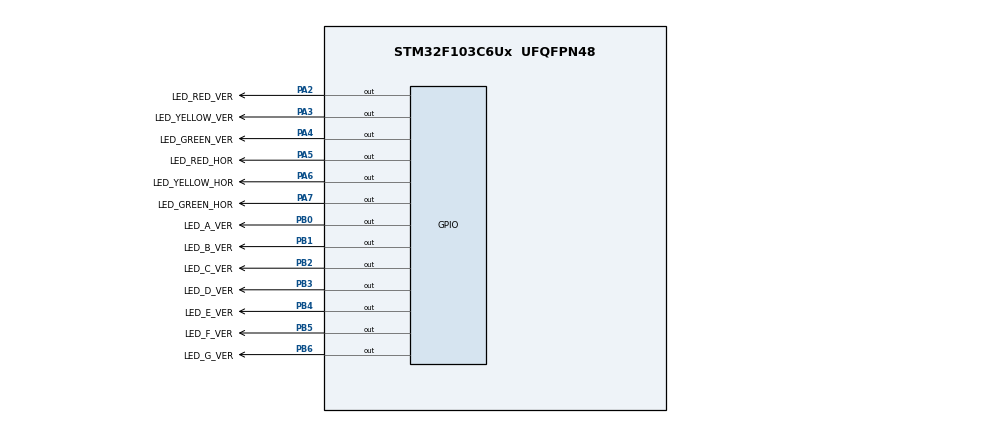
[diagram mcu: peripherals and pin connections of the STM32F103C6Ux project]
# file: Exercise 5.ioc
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Mcu.Family=STM32F1
Mcu.Name=STM32F103C6Ux
Mcu.Package=UFQFPN48
NVIC.PriorityGroup=NVIC_PRIORITYGROUP_4
PA2.GPIO_Label=LED_RED_VER
PA2.Signal=GPIO_Output
PA3.GPIO_Label=LED_YELLOW_VER
PA3.Signal=GPIO_Output
PA4.GPIO_Label=LED_GREEN_VER
PA4.Signal=GPIO_Output
PA5.GPIO_Label=LED_RED_HOR
PA5.Signal=GPIO_Output
PA6.GPIO_Label=LED_YELLOW_HOR
PA6.Signal=GPIO_Output
PA7.GPIO_Label=LED_GREEN_HOR
PA7.Signal=GPIO_Output
PB0.GPIO_Label=LED_A_VER
PB0.Signal=GPIO_Output
PB1.GPIO_Label=LED_B_VER
PB1.Signal=GPIO_Output
PB2.GPIO_Label=LED_C_VER
PB2.Signal=GPIO_Output
PB3.GPIO_Label=LED_D_VER
PB3.Signal=GPIO_Output
PB4.GPIO_Label=LED_E_VER
PB4.Signal=GPIO_Output
PB5.GPIO_Label=LED_F_VER
PB5.Signal=GPIO_Output
PB6.GPIO_Label=LED_G_VER
PB6.Signal=GPIO_Output
ProjectManager.HeapSize=0x200
ProjectManager.StackSize=0x400
ProjectManager.TargetToolchain=STM32CubeIDE
RCC.APB1Freq_Value=8000000
RCC.APB2Freq_Value=8000000
VP_SYS_VS_ND.Mode=No_Debug
board=custom

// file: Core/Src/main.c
/* USER CODE BEGIN Header */
/**
  ******************************************************************************
  * @file           : main.c
  * @brief          : Main program body
  ******************************************************************************
  * @attention
  *
  * <h2><center>&copy; Copyright (c) 2022 STMicroelectronics.
  * All rights reserved.</center></h2>
  *
  * This software component is licensed by ST under BSD 3-Clause license,
  * the "License"; You may not use this file except in compliance with the
  * License. You may obtain a copy of the License at:
  *                        opensource.org/licenses/BSD-3-Clause
  *
  ******************************************************************************
  */
/* USER CODE END Header */
#include "main.h"

void SystemClock_Config(void);
static void MX_GPIO_Init(void);

/* USER CODE BEGIN 0 */
void display7SEG(int num){
	if (num == 0){
		HAL_GPIO_WritePin(LED_A_VER_GPIO_Port, LED_A_VER_Pin, GPIO_PIN_RESET);
		HAL_GPIO_WritePin(LED_B_VER_GPIO_Port, LED_B_VER_Pin, GPIO_PIN_RESET);
		HAL_GPIO_WritePin(LED_C_VER_GPIO_Port, LED_C_VER_Pin, GPIO_PIN_RESET);
		HAL_GPIO_WritePin(LED_D_VER_GPIO_Port, LED_D_VER_Pin, GPIO_PIN_RESET);
		HAL_GPIO_WritePin(LED_E_VER_GPIO_Port, LED_E_VER_Pin, GPIO_PIN_RESET);
		HAL_GPIO_WritePin(LED_F_VER_GPIO_Port, LED_F_VER_Pin, GPIO_PIN_RESET);
		HAL_GPIO_WritePin(LED_G_VER_GPIO_Port, LED_G_VER_Pin, GPIO_PIN_SET);
	}
	else  if (num == 1){
		HAL_GPIO_WritePin(LED_A_VER_GPIO_Port, LED_A_VER_Pin, GPIO_PIN_SET);
		HAL_GPIO_WritePin(LED_B_VER_GPIO_Port, LED_B_VER_Pin, GPIO_PIN_RESET);
		HAL_GPIO_WritePin(LED_C_VER_GPIO_Port, LED_C_VER_Pin, GPIO_PIN_RESET);
		HAL_GPIO_WritePin(LED_D_VER_GPIO_Port, LED_D_VER_Pin, GPIO_PIN_SET);
		HAL_GPIO_WritePin(LED_E_VER_GPIO_Port, LED_E_VER_Pin, GPIO_PIN_SET);
		HAL_GPIO_WritePin(LED_F_VER_GPIO_Port, LED_F_VER_Pin, GPIO_PIN_SET);
		HAL_GPIO_WritePin(LED_G_VER_GPIO_Port, LED_G_VER_Pin, GPIO_PIN_SET);
	}
	else  if (num == 2){
		HAL_GPIO_WritePin(LED_A_VER_GPIO_Port, LED_A_VER_Pin, GPIO_PIN_RESET);
		HAL_GPIO_WritePin(LED_B_VER_GPIO_Port, LED_B_VER_Pin, GPIO_PIN_RESET);
		HAL_GPIO_WritePin(LED_C_VER_GPIO_Port, LED_C_VER_Pin, GPIO_PIN_SET);
		HAL_GPIO_WritePin(LED_D_VER_GPIO_Port, LED_D_VER_Pin, GPIO_PIN_RESET);
		HAL_GPIO_WritePin(LED_E_VER_GPIO_Port, LED_E_VER_Pin, GPIO_PIN_RESET);
		HAL_GPIO_WritePin(LED_F_VER_GPIO_Port, LED_F_VER_Pin, GPIO_PIN_SET);
		HAL_GPIO_WritePin(LED_G_VER_GPIO_Port, LED_G_VER_Pin, GPIO_PIN_RESET);
	}
	else  if (num == 3){
		HAL_GPIO_WritePin(LED_A_VER_GPIO_Port, LED_A_VER_Pin, GPIO_PIN_RESET);
		HAL_GPIO_WritePin(LED_B_VER_GPIO_Port, LED_B_VER_Pin, GPIO_PIN_RESET);
		HAL_GPIO_WritePin(LED_C_VER_GPIO_Port, LED_C_VER_Pin, GPIO_PIN_RESET);
		HAL_GPIO_WritePin(LED_D_VER_GPIO_Port, LED_D_VER_Pin, GPIO_PIN_RESET);
		HAL_GPIO_WritePin(LED_E_VER_GPIO_Port, LED_E_VER_Pin, GPIO_PIN_SET);
		HAL_GPIO_WritePin(LED_F_VER_GPIO_Port, LED_F_VER_Pin, GPIO_PIN_SET);
		HAL_GPIO_WritePin(LED_G_VER_GPIO_Port, LED_G_VER_Pin, GPIO_PIN_RESET);
	}
	else  if (num == 4){
		HAL_GPIO_WritePin(LED_A_VER_GPIO_Port, LED_A_VER_Pin, GPIO_PIN_SET);
		HAL_GPIO_WritePin(LED_B_VER_GPIO_Port, LED_B_VER_Pin, GPIO_PIN_RESET);
		HAL_GPIO_WritePin(LED_C_VER_GPIO_Port, LED_C_VER_Pin, GPIO_PIN_RESET);
		HAL_GPIO_WritePin(LED_D_VER_GPIO_Port, LED_D_VER_Pin, GPIO_PIN_SET);
		HAL_GPIO_WritePin(LED_E_VER_GPIO_Port, LED_E_VER_Pin, GPIO_PIN_SET);
		HAL_GPIO_WritePin(LED_F_VER_GPIO_Port, LED_F_VER_Pin, GPIO_PIN_RESET);
		HAL_GPIO_WritePin(LED_G_VER_GPIO_Port, LED_G_VER_Pin, GPIO_PIN_RESET);
	}
	else  if (num == 5){
		HAL_GPIO_WritePin(LED_A_VER_GPIO_Port, LED_A_VER_Pin, GPIO_PIN_RESET);
		HAL_GPIO_WritePin(LED_B_VER_GPIO_Port, LED_B_VER_Pin, GPIO_PIN_SET);
		HAL_GPIO_WritePin(LED_C_VER_GPIO_Port, LED_C_VER_Pin, GPIO_PIN_RESET);
		HAL_GPIO_WritePin(LED_D_VER_GPIO_Port, LED_D_VER_Pin, GPIO_PIN_RESET);
		HAL_GPIO_WritePin(LED_E_VER_GPIO_Port, LED_E_VER_Pin, GPIO_PIN_SET);
		HAL_GPIO_WritePin(LED_F_VER_GPIO_Port, LED_F_VER_Pin, GPIO_PIN_RESET);
		HAL_GPIO_WritePin(LED_G_VER_GPIO_Port, LED_G_VER_Pin, GPIO_PIN_RESET);
	}
	else  if (num == 6){
		HAL_GPIO_WritePin(LED_A_VER_GPIO_Port, LED_A_VER_Pin, GPIO_PIN_RESET);
		HAL_GPIO_WritePin(LED_B_VER_GPIO_Port, LED_B_VER_Pin, GPIO_PIN_SET);
		HAL_GPIO_WritePin(LED_C_VER_GPIO_Port, LED_C_VER_Pin, GPIO_PIN_RESET);
		HAL_GPIO_WritePin(LED_D_VER_GPIO_Port, LED_D_VER_Pin, GPIO_PIN_RESET);
		HAL_GPIO_WritePin(LED_E_VER_GPIO_Port, LED_E_VER_Pin, GPIO_PIN_RESET);
		HAL_GPIO_WritePin(LED_F_VER_GPIO_Port, LED_F_VER_Pin, GPIO_PIN_RESET);
		HAL_GPIO_WritePin(LED_G_VER_GPIO_Port, LED_G_VER_Pin, GPIO_PIN_RESET);
	}
	else  if (num == 7){
		HAL_GPIO_WritePin(LED_A_VER_GPIO_Port, LED_A_VER_Pin, GPIO_PIN_RESET);
		HAL_GPIO_WritePin(LED_B_VER_GPIO_Port, LED_B_VER_Pin, GPIO_PIN_RESET);
		HAL_GPIO_WritePin(LED_C_VER_GPIO_Port, LED_C_VER_Pin, GPIO_PIN_RESET);
		HAL_GPIO_WritePin(LED_D_VER_GPIO_Port, LED_D_VER_Pin, GPIO_PIN_SET);
		HAL_GPIO_WritePin(LED_E_VER_GPIO_Port, LED_E_VER_Pin, GPIO_PIN_SET);
		HAL_GPIO_WritePin(LED_F_VER_GPIO_Port, LED_F_VER_Pin, GPIO_PIN_SET);
		HAL_GPIO_WritePin(LED_G_VER_GPIO_Port, LED_G_VER_Pin, GPIO_PIN_SET);
	}
	else  if (num == 8){
		HAL_GPIO_WritePin(LED_A_VER_GPIO_Port, LED_A_VER_Pin, GPIO_PIN_RESET);
		HAL_GPIO_WritePin(LED_B_VER_GPIO_Port, LED_B_VER_Pin, GPIO_PIN_RESET);
		HAL_GPIO_WritePin(LED_C_VER_GPIO_Port, LED_C_VER_Pin, GPIO_PIN_RESET);
		HAL_GPIO_WritePin(LED_D_VER_GPIO_Port, LED_D_VER_Pin, GPIO_PIN_RESET);
		HAL_GPIO_WritePin(LED_E_VER_GPIO_Port, LED_E_VER_Pin, GPIO_PIN_RESET);
		HAL_GPIO_WritePin(LED_F_VER_GPIO_Port, LED_F_VER_Pin, GPIO_PIN_RESET);
		HAL_GPIO_WritePin(LED_G_VER_GPIO_Port, LED_G_VER_Pin, GPIO_PIN_RESET);
	}
	else  if (num == 9){
		HAL_GPIO_WritePin(LED_A_VER_GPIO_Port, LED_A_VER_Pin, GPIO_PIN_RESET);
		HAL_GPIO_WritePin(LED_B_VER_GPIO_Port, LED_B_VER_Pin, GPIO_PIN_RESET);
		HAL_GPIO_WritePin(LED_C_VER_GPIO_Port, LED_C_VER_Pin, GPIO_PIN_RESET);
		HAL_GPIO_WritePin(LED_D_VER_GPIO_Port, LED_D_VER_Pin, GPIO_PIN_RESET);
		HAL_GPIO_WritePin(LED_E_VER_GPIO_Port, LED_E_VER_Pin, GPIO_PIN_SET);
		HAL_GPIO_WritePin(LED_F_VER_GPIO_Port, LED_F_VER_Pin, GPIO_PIN_RESET);
		HAL_GPIO_WritePin(LED_G_VER_GPIO_Port, LED_G_VER_Pin, GPIO_PIN_RESET);
	}
}
/*
void display7SEGHor(int num){
	if (num == 0){
		HAL_GPIO_WritePin(LED_A_HOR_GPIO_Port, LED_A_HOR_Pin, GPIO_PIN_RESET);
		HAL_GPIO_WritePin(LED_B_HOR_GPIO_Port, LED_B_HOR_Pin, GPIO_PIN_RESET);
		HAL_GPIO_WritePin(LED_C_HOR_GPIO_Port, LED_C_HOR_Pin, GPIO_PIN_RESET);
		HAL_GPIO_WritePin(LED_D_HOR_GPIO_Port, LED_D_HOR_Pin, GPIO_PIN_RESET);
		HAL_GPIO_WritePin(LED_E_HOR_GPIO_Port, LED_E_HOR_Pin, GPIO_PIN_RESET);
		HAL_GPIO_WritePin(LED_F_HOR_GPIO_Port, LED_F_HOR_Pin, GPIO_PIN_RESET);
		HAL_GPIO_WritePin(LED_G_HOR_GPIO_Port, LED_G_HOR_Pin, GPIO_PIN_SET);
	}
	else  if (num == 1){
		HAL_GPIO_WritePin(LED_A_HOR_GPIO_Port, LED_A_HOR_Pin, GPIO_PIN_SET);
		HAL_GPIO_WritePin(LED_B_HOR_GPIO_Port, LED_B_HOR_Pin, GPIO_PIN_RESET);
		HAL_GPIO_WritePin(LED_C_HOR_GPIO_Port, LED_C_HOR_Pin, GPIO_PIN_RESET);
		HAL_GPIO_WritePin(LED_D_HOR_GPIO_Port, LED_D_HOR_Pin, GPIO_PIN_SET);
		HAL_GPIO_WritePin(LED_E_HOR_GPIO_Port, LED_E_HOR_Pin, GPIO_PIN_SET);
		HAL_GPIO_WritePin(LED_F_HOR_GPIO_Port, LED_F_HOR_Pin, GPIO_PIN_SET);
		HAL_GPIO_WritePin(LED_G_HOR_GPIO_Port, LED_G_HOR_Pin, GPIO_PIN_SET);
	}
	else  if (num == 2){
		HAL_GPIO_WritePin(LED_A_HOR_GPIO_Port, LED_A_HOR_Pin, GPIO_PIN_RESET);
		HAL_GPIO_WritePin(LED_B_HOR_GPIO_Port, LED_B_HOR_Pin, GPIO_PIN_RESET);
		HAL_GPIO_WritePin(LED_C_HOR_GPIO_Port, LED_C_HOR_Pin, GPIO_PIN_SET);
		HAL_GPIO_WritePin(LED_D_HOR_GPIO_Port, LED_D_HOR_Pin, GPIO_PIN_RESET);
		HAL_GPIO_WritePin(LED_E_HOR_GPIO_Port, LED_E_HOR_Pin, GPIO_PIN_RESET);
		HAL_GPIO_WritePin(LED_F_HOR_GPIO_Port, LED_F_HOR_Pin, GPIO_PIN_SET);
		HAL_GPIO_WritePin(LED_G_HOR_GPIO_Port, LED_G_HOR_Pin, GPIO_PIN_RESET);
	}
	else  if (num == 3){
		HAL_GPIO_WritePin(LED_A_HOR_GPIO_Port, LED_A_HOR_Pin, GPIO_PIN_RESET);
		HAL_GPIO_WritePin(LED_B_HOR_GPIO_Port, LED_B_HOR_Pin, GPIO_PIN_RESET);
		HAL_GPIO_WritePin(LED_C_HOR_GPIO_Port, LED_C_HOR_Pin, GPIO_PIN_RESET);
		HAL_GPIO_WritePin(LED_D_HOR_GPIO_Port, LED_D_HOR_Pin, GPIO_PIN_RESET);
		HAL_GPIO_WritePin(LED_E_HOR_GPIO_Port, LED_E_HOR_Pin, GPIO_PIN_SET);
		HAL_GPIO_WritePin(LED_F_HOR_GPIO_Port, LED_F_HOR_Pin, GPIO_PIN_SET);
		HAL_GPIO_WritePin(LED_G_HOR_GPIO_Port, LED_G_HOR_Pin, GPIO_PIN_RESET);
	}
	else  if (num == 4){
		HAL_GPIO_WritePin(LED_A_HOR_GPIO_Port, LED_A_HOR_Pin, GPIO_PIN_SET);
		HAL_GPIO_WritePin(LED_B_HOR_GPIO_Port, LED_B_HOR_Pin, GPIO_PIN_RESET);
		HAL_GPIO_WritePin(LED_C_HOR_GPIO_Port, LED_C_HOR_Pin, GPIO_PIN_RESET);
		HAL_GPIO_WritePin(LED_D_HOR_GPIO_Port, LED_D_HOR_Pin, GPIO_PIN_SET);
		HAL_GPIO_WritePin(LED_E_HOR_GPIO_Port, LED_E_HOR_Pin, GPIO_PIN_SET);
		HAL_GPIO_WritePin(LED_F_HOR_GPIO_Port, LED_F_HOR_Pin, GPIO_PIN_RESET);
		HAL_GPIO_WritePin(LED_G_HOR_GPIO_Port, LED_G_HOR_Pin, GPIO_PIN_RESET);
	}
	else  if (num == 5){
		HAL_GPIO_WritePin(LED_A_HOR_GPIO_Port, LED_A_HOR_Pin, GPIO_PIN_RESET);
		HAL_GPIO_WritePin(LED_B_HOR_GPIO_Port, LED_B_HOR_Pin, GPIO_PIN_SET);
		HAL_GPIO_WritePin(LED_C_HOR_GPIO_Port, LED_C_HOR_Pin, GPIO_PIN_RESET);
		HAL_GPIO_WritePin(LED_D_HOR_GPIO_Port, LED_D_HOR_Pin, GPIO_PIN_RESET);
		HAL_GPIO_WritePin(LED_E_HOR_GPIO_Port, LED_E_HOR_Pin, GPIO_PIN_SET);
		HAL_GPIO_WritePin(LED_F_HOR_GPIO_Port, LED_F_HOR_Pin, GPIO_PIN_RESET);
		HAL_GPIO_WritePin(LED_G_HOR_GPIO_Port, LED_G_HOR_Pin, GPIO_PIN_RESET);
	}
	else  if (num == 6){
		HAL_GPIO_WritePin(LED_A_HOR_GPIO_Port, LED_A_HOR_Pin, GPIO_PIN_RESET);
		HAL_GPIO_WritePin(LED_B_HOR_GPIO_Port, LED_B_HOR_Pin, GPIO_PIN_SET);
		HAL_GPIO_WritePin(LED_C_HOR_GPIO_Port, LED_C_HOR_Pin, GPIO_PIN_RESET);
		HAL_GPIO_WritePin(LED_D_HOR_GPIO_Port, LED_D_HOR_Pin, GPIO_PIN_RESET);
		HAL_GPIO_WritePin(LED_E_HOR_GPIO_Port, LED_E_HOR_Pin, GPIO_PIN_RESET);
		HAL_GPIO_WritePin(LED_F_HOR_GPIO_Port, LED_F_HOR_Pin, GPIO_PIN_RESET);
		HAL_GPIO_WritePin(LED_G_HOR_GPIO_Port, LED_G_HOR_Pin, GPIO_PIN_RESET);
	}
	else  if (num == 7){
		HAL_GPIO_WritePin(LED_A_HOR_GPIO_Port, LED_A_HOR_Pin, GPIO_PIN_RESET);
		HAL_GPIO_WritePin(LED_B_HOR_GPIO_Port, LED_B_HOR_Pin, GPIO_PIN_RESET);
		HAL_GPIO_WritePin(LED_C_HOR_GPIO_Port, LED_C_HOR_Pin, GPIO_PIN_RESET);
		HAL_GPIO_WritePin(LED_D_HOR_GPIO_Port, LED_D_HOR_Pin, GPIO_PIN_SET);
		HAL_GPIO_WritePin(LED_E_HOR_GPIO_Port, LED_E_HOR_Pin, GPIO_PIN_SET);
		HAL_GPIO_WritePin(LED_F_HOR_GPIO_Port, LED_F_HOR_Pin, GPIO_PIN_SET);
		HAL_GPIO_WritePin(LED_G_HOR_GPIO_Port, LED_G_HOR_Pin, GPIO_PIN_SET);
	}
	else  if (num == 8){
		HAL_GPIO_WritePin(LED_A_HOR_GPIO_Port, LED_A_HOR_Pin, GPIO_PIN_RESET);
		HAL_GPIO_WritePin(LED_B_HOR_GPIO_Port, LED_B_HOR_Pin, GPIO_PIN_RESET);
		HAL_GPIO_WritePin(LED_C_HOR_GPIO_Port, LED_C_HOR_Pin, GPIO_PIN_RESET);
		HAL_GPIO_WritePin(LED_D_HOR_GPIO_Port, LED_D_HOR_Pin, GPIO_PIN_RESET);
		HAL_GPIO_WritePin(LED_E_HOR_GPIO_Port, LED_E_HOR_Pin, GPIO_PIN_RESET);
		HAL_GPIO_WritePin(LED_F_HOR_GPIO_Port, LED_F_HOR_Pin, GPIO_PIN_RESET);
		HAL_GPIO_WritePin(LED_G_HOR_GPIO_Port, LED_G_HOR_Pin, GPIO_PIN_RESET);
	}
	else  if (num == 9){
		HAL_GPIO_WritePin(LED_A_HOR_GPIO_Port, LED_A_HOR_Pin, GPIO_PIN_RESET);
		HAL_GPIO_WritePin(LED_B_HOR_GPIO_Port, LED_B_HOR_Pin, GPIO_PIN_RESET);
		HAL_GPIO_WritePin(LED_C_HOR_GPIO_Port, LED_C_HOR_Pin, GPIO_PIN_RESET);
		HAL_GPIO_WritePin(LED_D_HOR_GPIO_Port, LED_D_HOR_Pin, GPIO_PIN_RESET);
		HAL_GPIO_WritePin(LED_E_HOR_GPIO_Port, LED_E_HOR_Pin, GPIO_PIN_SET);
		HAL_GPIO_WritePin(LED_F_HOR_GPIO_Port, LED_F_HOR_Pin, GPIO_PIN_RESET);
		HAL_GPIO_WritePin(LED_G_HOR_GPIO_Port, LED_G_HOR_Pin, GPIO_PIN_RESET);
	}
}*/

/* USER CODE END 0 */

int main(void)
{

  /* MCU Configuration--------------------------------------------------------*/

  /* Reset of all peripherals, Initializes the Flash interface and the Systick. */
  HAL_Init();

  /* Configure the system clock */
  SystemClock_Config();

  /* Initialize all configured peripherals */
  MX_GPIO_Init();
  /* USER CODE BEGIN 2 */
  int count_status_ver = 1;
  int count_status_hor = 1;
  int count_down_dis7seg_ver = 0;
  //int count_down_dis7seg_hor = 0;
  /* USER CODE END 2 */

  /* Infinite loop */
  /* USER CODE BEGIN WHILE */
  while (1)
  {
	  // VERTICAl
	 	  if ( count_status_ver <= 5) {// LED RED UP LIGHT
	 		  HAL_GPIO_WritePin(LED_RED_VER_GPIO_Port, LED_RED_VER_Pin, GPIO_PIN_RESET);
	 		  HAL_GPIO_WritePin(LED_GREEN_VER_GPIO_Port, LED_GREEN_VER_Pin, GPIO_PIN_SET);
	 		  HAL_GPIO_WritePin(LED_YELLOW_VER_GPIO_Port, LED_YELLOW_VER_Pin, GPIO_PIN_SET);
	 		  count_down_dis7seg_ver = 5 - count_status_ver + 1;
	 		  display7SEG(count_down_dis7seg_ver);
	 		  count_status_ver++;
	 	  }else if (count_status_ver <= 8){// LED GREEN UP LIGHT
	 		  HAL_GPIO_WritePin(LED_RED_VER_GPIO_Port, LED_RED_VER_Pin, GPIO_PIN_SET);
	 		  HAL_GPIO_WritePin(LED_YELLOW_VER_GPIO_Port, LED_YELLOW_VER_Pin, GPIO_PIN_SET);
	 		  HAL_GPIO_WritePin(LED_GREEN_VER_GPIO_Port, LED_GREEN_VER_Pin, GPIO_PIN_RESET);
	 		  count_down_dis7seg_ver = 8 - count_status_ver + 1;
	 		  display7SEG(count_down_dis7seg_ver);
	 		  count_status_ver++;
	 	  }else if (count_status_ver <= 10){// LED YELLOW UP RIGHT
	 		  HAL_GPIO_WritePin(LED_RED_VER_GPIO_Port, LED_RED_VER_Pin, GPIO_PIN_SET);
	 		  HAL_GPIO_WritePin(LED_YELLOW_VER_GPIO_Port, LED_YELLOW_VER_Pin, GPIO_PIN_RESET);
	 		  HAL_GPIO_WritePin(LED_GREEN_VER_GPIO_Port, LED_GREEN_VER_Pin, GPIO_PIN_SET);
	 		  count_down_dis7seg_ver = 10 - count_status_ver + 1;
	 		  display7SEG(count_down_dis7seg_ver);
	 		  count_status_ver++;
	 		  if (count_status_ver > 10) count_status_ver = 1;
	 	  }

	 	  //HORIZONTAL
	 	  if ( count_status_hor <= 3) { // LED GREEN UP LIGHT
	  		  HAL_GPIO_WritePin(LED_RED_HOR_GPIO_Port, LED_RED_HOR_Pin, GPIO_PIN_SET);
	  		  HAL_GPIO_WritePin(LED_YELLOW_HOR_GPIO_Port, LED_YELLOW_HOR_Pin, GPIO_PIN_SET);
	  		  HAL_GPIO_WritePin(LED_GREEN_HOR_GPIO_Port, LED_GREEN_HOR_Pin, GPIO_PIN_RESET);
	 		  //count_down_dis7seg_hor = 3 - count_status_hor;
	 		  //display7SEGHor(count_down_dis7seg_hor);
	 	 	  count_status_hor++;
	 	 	  }
	 	  else if (count_status_hor <= 5){ //LED YELLOW UP LIGHT
	 	 		  HAL_GPIO_WritePin(LED_RED_HOR_GPIO_Port, LED_RED_HOR_Pin, GPIO_PIN_SET);
	 	 		  HAL_GPIO_WritePin(LED_YELLOW_HOR_GPIO_Port, LED_YELLOW_HOR_Pin, GPIO_PIN_RESET);
	 	 		  HAL_GPIO_WritePin(LED_GREEN_HOR_GPIO_Port, LED_GREEN_HOR_Pin, GPIO_PIN_SET);
		 		  //count_down_dis7seg_hor = 5 - count_status_hor;
		 		  //(count_down_dis7seg_hor);
	 	 		  count_status_hor++;
	 	 	  }
	 	  else if (count_status_hor <= 10){ //LED RED UP LIGHT
	 	 		  HAL_GPIO_WritePin(LED_RED_HOR_GPIO_Port, LED_RED_HOR_Pin, GPIO_PIN_RESET);
	 	 		  HAL_GPIO_WritePin(LED_GREEN_HOR_GPIO_Port, LED_GREEN_HOR_Pin, GPIO_PIN_SET);
	 	 		  HAL_GPIO_WritePin(LED_YELLOW_HOR_GPIO_Port, LED_YELLOW_HOR_Pin, GPIO_PIN_SET);
		 		  //count_down_dis7seg_hor = 10 - count_status_hor;
		 		  //display7SEGHor(count_down_dis7seg_hor);
	 	 		  count_status_hor++;
	 	 		  if (count_status_hor > 10) count_status_hor = 1;
	 	 	  }
	 	  HAL_Delay(1000);
    /* USER CODE END WHILE */

  }
}

void SystemClock_Config(void)
{
  RCC_OscInitTypeDef RCC_OscInitStruct = {0};
  RCC_ClkInitTypeDef RCC_ClkInitStruct = {0};

  /** Initializes the RCC Oscillators according to the specified parameters
  * in the RCC_OscInitTypeDef structure.
  */
  RCC_OscInitStruct.OscillatorType = RCC_OSCILLATORTYPE_HSI;
  RCC_OscInitStruct.HSIState = RCC_HSI_ON;
  RCC_OscInitStruct.HSICalibrationValue = RCC_HSICALIBRATION_DEFAULT;
  RCC_OscInitStruct.PLL.PLLState = RCC_PLL_NONE;
  if (HAL_RCC_OscConfig(&RCC_OscInitStruct) != HAL_OK)
  {
    Error_Handler();
  }
  /** Initializes the CPU, AHB and APB buses clocks
  */
  RCC_ClkInitStruct.ClockType = RCC_CLOCKTYPE_HCLK|RCC_CLOCKTYPE_SYSCLK
                              |RCC_CLOCKTYPE_PCLK1|RCC_CLOCKTYPE_PCLK2;
  RCC_ClkInitStruct.SYSCLKSource = RCC_SYSCLKSOURCE_HSI;
  RCC_ClkInitStruct.AHBCLKDivider = RCC_SYSCLK_DIV1;
  RCC_ClkInitStruct.APB1CLKDivider = RCC_HCLK_DIV1;
  RCC_ClkInitStruct.APB2CLKDivider = RCC_HCLK_DIV1;

  if (HAL_RCC_ClockConfig(&RCC_ClkInitStruct, FLASH_LATENCY_0) != HAL_OK)
  {
    Error_Handler();
  }
}

static void MX_GPIO_Init(void)
{
  GPIO_InitTypeDef GPIO_InitStruct = {0};

  /* GPIO Ports Clock Enable */
  __HAL_RCC_GPIOA_CLK_ENABLE();
  __HAL_RCC_GPIOB_CLK_ENABLE();

  /*Configure GPIO pin Output Level */
  HAL_GPIO_WritePin(GPIOA, LED_RED_VER_Pin|LED_YELLOW_VER_Pin|LED_GREEN_VER_Pin|LED_RED_HOR_Pin
                          |LED_YELLOW_HOR_Pin|LED_GREEN_HOR_Pin, GPIO_PIN_RESET);

  /*Configure GPIO pin Output Level */
  HAL_GPIO_WritePin(GPIOB, LED_A_VER_Pin|LED_B_VER_Pin|LED_C_VER_Pin|LED_D_VER_Pin
                          |LED_E_VER_Pin|LED_F_VER_Pin|LED_G_VER_Pin, GPIO_PIN_RESET);

  /*Configure GPIO pins : LED_RED_VER_Pin LED_YELLOW_VER_Pin LED_GREEN_VER_Pin LED_RED_HOR_Pin
                           LED_YELLOW_HOR_Pin LED_GREEN_HOR_Pin */
  GPIO_InitStruct.Pin = LED_RED_VER_Pin|LED_YELLOW_VER_Pin|LED_GREEN_VER_Pin|LED_RED_HOR_Pin
                          |LED_YELLOW_HOR_Pin|LED_GREEN_HOR_Pin;
  GPIO_InitStruct.Mode = GPIO_MODE_OUTPUT_PP;
  GPIO_InitStruct.Pull = GPIO_NOPULL;
  GPIO_InitStruct.Speed = GPIO_SPEED_FREQ_LOW;
  HAL_GPIO_Init(GPIOA, &GPIO_InitStruct);

  /*Configure GPIO pins : LED_A_VER_Pin LED_B_VER_Pin LED_C_VER_Pin LED_D_VER_Pin
                           LED_E_VER_Pin LED_F_VER_Pin LED_G_VER_Pin */
  GPIO_InitStruct.Pin = LED_A_VER_Pin|LED_B_VER_Pin|LED_C_VER_Pin|LED_D_VER_Pin
                          |LED_E_VER_Pin|LED_F_VER_Pin|LED_G_VER_Pin;
  GPIO_InitStruct.Mode = GPIO_MODE_OUTPUT_PP;
  GPIO_InitStruct.Pull = GPIO_NOPULL;
  GPIO_InitStruct.Speed = GPIO_SPEED_FREQ_LOW;
  HAL_GPIO_Init(GPIOB, &GPIO_InitStruct);

}

void Error_Handler(void)
{
  __disable_irq();
  while (1)
  {
  }
}

/************************ (C) COPYRIGHT STMicroelectronics *****END OF FILE****/
